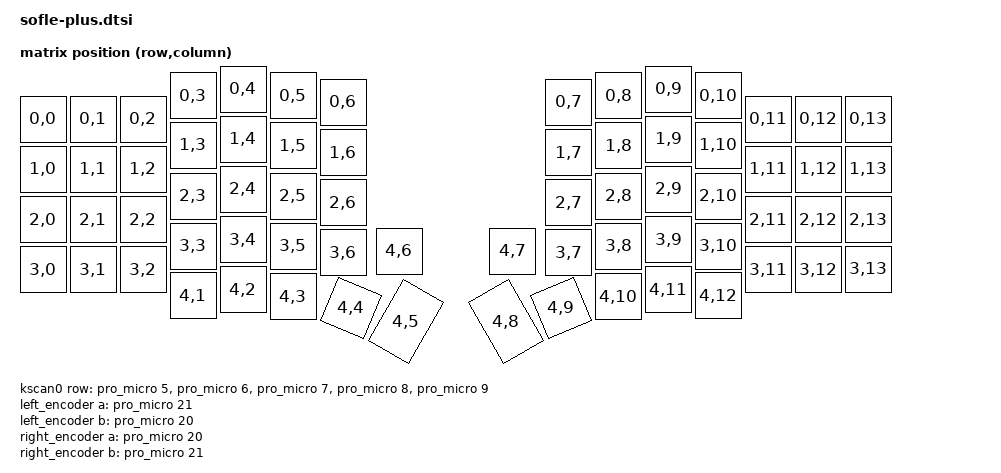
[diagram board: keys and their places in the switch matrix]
/*
 * Copyright (c) 2020 Pete Johanson, Ryan Cross
 *
 * SPDX-License-Identifier: MIT
 */

#include <dt-bindings/zmk/matrix_transform.h>
#include <physical_layouts.dtsi>

/ {
    chosen {
				zephyr,display = &oled;
        zmk,physical-layout = &sofle;
    };

    default_transform: keymap_transform_0 {
        compatible = "zmk,matrix-transform";
        columns = <16>;
        rows = <4>;
        map = <
RC(0,0) RC(0,1) RC(0,2) RC(0,3) RC(0,4) RC(0,5) RC(0,6)                  RC(0,7) RC(0,8)  RC(0,9) RC(0,10) RC(0,11) RC(0,12) RC(0,13)
RC(1,0) RC(1,1) RC(1,2) RC(1,3) RC(1,4) RC(1,5) RC(1,6)                  RC(1,7) RC(1,8)  RC(1,9) RC(1,10) RC(1,11) RC(1,12) RC(1,13)
RC(2,0) RC(2,1) RC(2,2) RC(2,3) RC(2,4) RC(2,5) RC(2,6)                  RC(2,7) RC(2,8)  RC(2,9) RC(2,10) RC(2,11) RC(2,12) RC(2,13)
RC(3,0) RC(3,1) RC(3,2) RC(3,3) RC(3,4) RC(3,5) RC(3,6) RC(4,6) RC(4,7)  RC(3,7) RC(3,8)  RC(3,9) RC(3,10) RC(3,11) RC(3,12) RC(3,13)
                RC(4,1) RC(4,2) RC(4,3) RC(4,4) RC(4,5)                 RC(4,8) RC(4,9) RC(4,10) RC(4,11) RC(4,12)
        >;
    };

    kscan0: kscan {
        compatible = "zmk,kscan-gpio-matrix";
        wakeup-source;

        diode-direction = "col2row";
        row-gpios
            = <&pro_micro 5 (GPIO_ACTIVE_HIGH | GPIO_PULL_DOWN)>
            , <&pro_micro 6 (GPIO_ACTIVE_HIGH | GPIO_PULL_DOWN)>
            , <&pro_micro 7 (GPIO_ACTIVE_HIGH | GPIO_PULL_DOWN)>
            , <&pro_micro 8 (GPIO_ACTIVE_HIGH | GPIO_PULL_DOWN)>
            , <&pro_micro 9 (GPIO_ACTIVE_HIGH | GPIO_PULL_DOWN)>
            ;
    };
		sofle:sofle {
			compatible = "zmk,physical-layout";
			display-name = "matrix layout";
			kscan = <&kscan0>;
			transform = <&default_transform>;
			keys  //                     w   h    x    y     rot   rx   ry
    = <&key_physical_attrs 100 100 (-100)   60       0    0    0>
    , <&key_physical_attrs 100 100    0   60       0    0    0>
    , <&key_physical_attrs 100 100  100   60       0    0    0>
    , <&key_physical_attrs 100 100  200   13       0    0    0>
    , <&key_physical_attrs 100 100  300    0       0    0    0>
    , <&key_physical_attrs 100 100  400   13       0    0    0>
    , <&key_physical_attrs 100 100  500   26       0    0    0>
    , <&key_physical_attrs 100 100  951   26       0    0    0>
    , <&key_physical_attrs 100 100 1051   13       0    0    0>
    , <&key_physical_attrs 100 100 1151    0       0    0    0>
    , <&key_physical_attrs 100 100 1251   13       0    0    0>
    , <&key_physical_attrs 100 100 1351   60       0    0    0>
    , <&key_physical_attrs 100 100 1451   60       0    0    0>
    , <&key_physical_attrs 100 100 1551   60       0    0    0>
    , <&key_physical_attrs 100 100 (-100)  160       0    0    0>
    , <&key_physical_attrs 100 100    0  160       0    0    0>
    , <&key_physical_attrs 100 100  100  160       0    0    0>
    , <&key_physical_attrs 100 100  200  112       0    0    0>
    , <&key_physical_attrs 100 100  300  100       0    0    0>
    , <&key_physical_attrs 100 100  400  113       0    0    0>
    , <&key_physical_attrs 100 100  500  127       0    0    0>
    , <&key_physical_attrs 100 100  951  127       0    0    0>
    , <&key_physical_attrs 100 100 1051  113       0    0    0>
    , <&key_physical_attrs 100 100 1151  100       0    0    0>
    , <&key_physical_attrs 100 100 1251  112       0    0    0>
    , <&key_physical_attrs 100 100 1351  160       0    0    0>
    , <&key_physical_attrs 100 100 1451  160       0    0    0>
    , <&key_physical_attrs 100 100 1551  160       0    0    0>
    , <&key_physical_attrs 100 100 (-100)  261       0    0    0>
    , <&key_physical_attrs 100 100    0  261       0    0    0>
    , <&key_physical_attrs 100 100  100  261       0    0    0>
    , <&key_physical_attrs 100 100  200  214       0    0    0>
    , <&key_physical_attrs 100 100  300  200       0    0    0>
    , <&key_physical_attrs 100 100  400  214       0    0    0>
    , <&key_physical_attrs 100 100  500  227       0    0    0>
    , <&key_physical_attrs 100 100  951  227       0    0    0>
    , <&key_physical_attrs 100 100 1051  214       0    0    0>
    , <&key_physical_attrs 100 100 1151  200       0    0    0>
    , <&key_physical_attrs 100 100 1251  214       0    0    0>
    , <&key_physical_attrs 100 100 1351  261       0    0    0>
    , <&key_physical_attrs 100 100 1451  261       0    0    0>
    , <&key_physical_attrs 100 100 1551  261       0    0    0>
    , <&key_physical_attrs 100 100 (-100)  361       0    0    0>
    , <&key_physical_attrs 100 100    0  361       0    0    0>
    , <&key_physical_attrs 100 100  100  361       0    0    0>
    , <&key_physical_attrs 100 100  200  314       0    0    0>
    , <&key_physical_attrs 100 100  300  301       0    0    0>
    , <&key_physical_attrs 100 100  400  314       0    0    0>
    , <&key_physical_attrs 100 100  500  327       0    0    0>
    , <&key_physical_attrs 100 100  612  324       0    0    0>
    , <&key_physical_attrs 100 100  839  324       0    0    0>
    , <&key_physical_attrs 100 100  951  327       0    0    0>
    , <&key_physical_attrs 100 100 1051  314       0    0    0>
    , <&key_physical_attrs 100 100 1151  301       0    0    0>
    , <&key_physical_attrs 100 100 1251  314       0    0    0>
    , <&key_physical_attrs 100 100 1351  361       0    0    0>
    , <&key_physical_attrs 100 100 1451  361       0    0    0>
    , <&key_physical_attrs 100 100 1551  360       0    0    0>
    , <&key_physical_attrs 100 100  200  413       0    0    0>
    , <&key_physical_attrs 100 100  300  401       0    0    0>
    , <&key_physical_attrs 100 100  400  415       0    0    0>
    , <&key_physical_attrs 100 100  516  438    2300  566  488>
    , <&key_physical_attrs 100 150  626  440    3000  676  515>
    , <&key_physical_attrs 100 150  826  440 (-3000)  876  515>
    , <&key_physical_attrs 100 100  936  438 (-2300)  986  488>
    , <&key_physical_attrs 100 100 1051  415       0    0    0>
    , <&key_physical_attrs 100 100 1151  401       0    0    0>
    , <&key_physical_attrs 100 100 1251  413       0    0    0>
    ;
		};
    left_encoder: encoder_left {
        compatible = "alps,ec11";
        a-gpios = <&pro_micro 21 (GPIO_ACTIVE_HIGH | GPIO_PULL_UP)>;
        b-gpios = <&pro_micro 20 (GPIO_ACTIVE_HIGH | GPIO_PULL_UP)>;
        steps = <80>;
        status = "disabled";
    };

    right_encoder: encoder_right {
        compatible = "alps,ec11";
        a-gpios = <&pro_micro 20 (GPIO_ACTIVE_HIGH | GPIO_PULL_UP)>;
        b-gpios = <&pro_micro 21 (GPIO_ACTIVE_HIGH | GPIO_PULL_UP)>;
        steps = <80>;
        status = "disabled";
    };

    sensors: sensors {
        compatible = "zmk,keymap-sensors";
        sensors = <&left_encoder &right_encoder>;
        triggers-per-rotation = <20>;
    };
	};
    &pro_micro_i2c {
    	status = "okay";

    	oled: ssd1306@3c {
				compatible = "solomon,ssd1306fb";
				reg = <0x3c>;
				width = <128>;
				height = <32>;
				segment-offset = <0>;
        page-offset = <0>;
        display-offset = <0>;
        multiplex-ratio = <31>;
        segment-remap;
        com-invdir;
        com-sequential;
        inversion-on;
        prechargep = <0x22>;
		};
};
